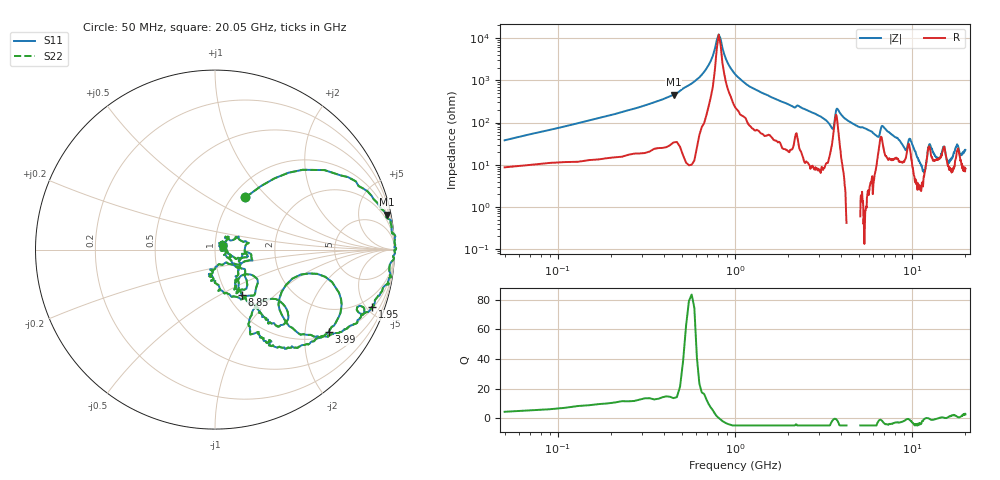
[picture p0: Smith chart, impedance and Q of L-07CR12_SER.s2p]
! P/N: L-07CR12JV4
! Measured by Marlon
! Oct. 13, 2003
! Measure with Series-through-Fixture
#	mhz	s	ma	r	50
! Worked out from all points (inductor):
!   1001 points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, 50 MHz to 20.05 GHz, reference 50 ohm
!   read as one part in series: L = 113 nH near 150 MHz
!   highest Q = 14.7 at 450 MHz (marker M1), where L = 161 nH
!   self-resonance near 810 MHz
!   S11 on the Smith chart (normalised r, x): 50 MHz: 1.15, +0.75; 1.95 GHz: 1.10, -5.41; 3.99 GHz: 1.13, -2.66; 8.85 GHz: 1.16, -0.65; 20.05 GHz: 1.09, +0.04
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50  0.3362 59.8  0.8636 -18.1  0.8636 -18.1  0.3362 59.8
450  0.9772 11.5  0.2145 -74.2  0.2145 -74.2  0.9772 11.5
830  1.005 1.4  0.01036 44.2  0.01036 44.2  1.005 1.4
1190  0.9768 -5.8  0.1309 77.1  0.1309 77.1  0.9768 -5.8
1950  0.9323 -20.2  0.3256 65.3  0.3256 65.3  0.9323 -20.2
3390  0.6466 -45.2  0.6467 38.0  0.6467 38.0  0.6466 -45.2
3670  0.5398 -14.2  0.4479 11.8  0.4479 11.8  0.5398 -14.2
3990  0.7819 -35.9  0.5001 49.8  0.5001 49.8  0.7819 -35.9
6110  0.487 -66.4  0.7905 23.0  0.7905 23.0  0.487 -66.4
6730  0.5191 -39.8  0.6075 19.0  0.6075 19.0  0.5191 -39.8
8850  0.2954 -59.4  0.8656 10.8  0.8656 10.8  0.2954 -59.4
10050  0.279 -68.8  0.8386 12.1  0.8386 12.1  0.279 -68.8
11850  0.08448 -75.7  0.8892 -2.7  0.8892 -2.7  0.08448 -75.7
12590  0.2719 -49.2  0.751 0.3  0.751 0.3  0.2719 -49.2
13390  0.217 -59.1  0.8742 -0.0  0.8742 -0.0  0.217 -59.1
14450  0.1492 -23.2  0.887 -7.4  0.887 -7.4  0.1492 -23.2
15250  0.2174 -16.2  0.7905 -6.8  0.7905 -6.8  0.2174 -16.2
16270  0.04147 -9.0  0.8889 -9.4  0.8889 -9.4  0.04147 -9.0
16730  0.0459 54.7  0.8869 -11.3  0.8869 -11.3  0.0459 54.7
17970  0.187 11.5  0.8043 -17.1  0.8043 -17.1  0.187 11.5
19170  0.05994 16.0  0.8632 -15.5  0.8632 -15.5  0.05994 16.0
20050  0.04659 25.1  0.8724 -21.8  0.8724 -21.8  0.04659 25.1
